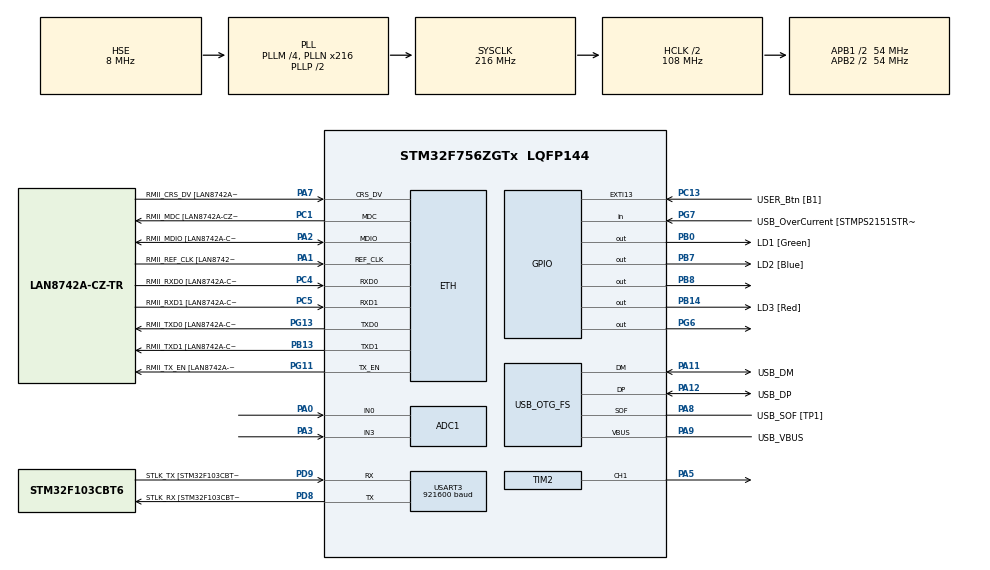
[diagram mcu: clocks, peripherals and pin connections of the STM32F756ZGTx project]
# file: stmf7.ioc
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ADC1.Channel-0\#ChannelRegularConversion=ADC_CHANNEL_0
ADC1.Channel-1\#ChannelRegularConversion=ADC_CHANNEL_3
ADC1.ClockPrescaler=ADC_CLOCK_SYNC_PCLK_DIV4
ADC1.DMAContinuousRequests=ENABLE
ADC1.EOCSelection=ADC_EOC_SINGLE_CONV
ADC1.ExternalTrigConv=ADC_EXTERNALTRIGCONV_T2_CC2
ADC1.ExternalTrigConvEdge=ADC_EXTERNALTRIGCONVEDGE_RISINGFALLING
ADC1.NbrOfConversion=2
ADC1.NbrOfConversionFlag=1
ADC1.Rank-0\#ChannelRegularConversion=1
ADC1.Rank-1\#ChannelRegularConversion=2
ADC1.SamplingTime-0\#ChannelRegularConversion=ADC_SAMPLETIME_3CYCLES
ADC1.SamplingTime-1\#ChannelRegularConversion=ADC_SAMPLETIME_3CYCLES
ADC1.ScanConvMode=ADC_SCAN_ENABLE
ADC1.master=1
Dma.ADC1.0.Direction=DMA_PERIPH_TO_MEMORY
Dma.ADC1.0.FIFOMode=DMA_FIFOMODE_DISABLE
Dma.ADC1.0.Instance=DMA2_Stream0
Dma.ADC1.0.MemDataAlignment=DMA_MDATAALIGN_HALFWORD
Dma.ADC1.0.MemInc=DMA_MINC_ENABLE
Dma.ADC1.0.Mode=DMA_CIRCULAR
Dma.ADC1.0.PeriphDataAlignment=DMA_PDATAALIGN_HALFWORD
Dma.ADC1.0.PeriphInc=DMA_PINC_DISABLE
Dma.ADC1.0.Priority=DMA_PRIORITY_LOW
Dma.Request0=ADC1
Dma.Request1=USART3_TX
Dma.Request2=USART3_RX
Dma.USART3_RX.2.Direction=DMA_PERIPH_TO_MEMORY
Dma.USART3_RX.2.FIFOMode=DMA_FIFOMODE_DISABLE
Dma.USART3_RX.2.Instance=DMA1_Stream1
Dma.USART3_RX.2.MemDataAlignment=DMA_MDATAALIGN_BYTE
Dma.USART3_RX.2.MemInc=DMA_MINC_ENABLE
Dma.USART3_RX.2.Mode=DMA_CIRCULAR
Dma.USART3_RX.2.PeriphDataAlignment=DMA_PDATAALIGN_BYTE
Dma.USART3_RX.2.PeriphInc=DMA_PINC_DISABLE
Dma.USART3_RX.2.Priority=DMA_PRIORITY_LOW
Dma.USART3_TX.1.Direction=DMA_MEMORY_TO_PERIPH
Dma.USART3_TX.1.FIFOMode=DMA_FIFOMODE_DISABLE
Dma.USART3_TX.1.Instance=DMA1_Stream3
Dma.USART3_TX.1.MemDataAlignment=DMA_MDATAALIGN_BYTE
Dma.USART3_TX.1.MemInc=DMA_MINC_ENABLE
Dma.USART3_TX.1.Mode=DMA_NORMAL
Dma.USART3_TX.1.PeriphDataAlignment=DMA_PDATAALIGN_BYTE
Dma.USART3_TX.1.PeriphInc=DMA_PINC_DISABLE
Dma.USART3_TX.1.Priority=DMA_PRIORITY_LOW
ETH.MediaInterface=HAL_ETH_RMII_MODE
ETH.PHY_Name=LAN8742A_PHY_ADDRESS
ETH.PHY_Value=0
ETH.PhyAddress=0
Mcu.Family=STM32F7
Mcu.Name=STM32F756ZGTx
Mcu.Package=LQFP144
NVIC.ADC_IRQn=true\:0\:0\:false\:false\:true\:true\:true\:true
NVIC.DMA1_Stream1_IRQn=true\:0\:0\:false\:false\:true\:false\:true\:true
NVIC.DMA1_Stream3_IRQn=true\:0\:0\:false\:false\:true\:false\:true\:true
NVIC.DMA2_Stream0_IRQn=true\:0\:0\:false\:false\:true\:false\:true\:true
NVIC.PriorityGroup=NVIC_PRIORITYGROUP_4
NVIC.TIM2_IRQn=true\:0\:0\:false\:false\:true\:true\:true\:true
NVIC.USART3_IRQn=true\:0\:0\:false\:false\:true\:true\:true\:true
PA0/WKUP.Signal=ADCx_IN0
PA1.GPIO_Label=RMII_REF_CLK [LAN8742A-CZ-TR_REFCLK0]
PA1.Mode=RMII
PA1.Signal=ETH_REF_CLK
PA10.GPIO_Label=USB_ID
PA10.Signal=USB_OTG_FS_ID
PA11.GPIO_Label=USB_DM
PA11.Mode=Device_Only
PA11.Signal=USB_OTG_FS_DM
PA12.GPIO_Label=USB_DP
PA12.Mode=Device_Only
PA12.Signal=USB_OTG_FS_DP
PA13.GPIO_Label=TMS
PA13.Mode=Serial_Wire
PA13.Signal=SYS_JTMS-SWDIO
PA14.GPIO_Label=TCK
PA14.Mode=Serial_Wire
PA14.Signal=SYS_JTCK-SWCLK
PA2.GPIO_Label=RMII_MDIO [LAN8742A-CZ-TR_MDIO]
PA2.Mode=RMII
PA2.Signal=ETH_MDIO
PA3.Signal=ADCx_IN3
PA5.Signal=S_TIM2_CH1_ETR
PA7.GPIO_Label=RMII_CRS_DV [LAN8742A-CZ-TR_CRS_DV]
PA7.Mode=RMII
PA7.Signal=ETH_CRS_DV
PA8.GPIO_Label=USB_SOF [TP1]
PA8.Mode=Activate_SOF_FS
PA8.Signal=USB_OTG_FS_SOF
PA9.GPIO_Label=USB_VBUS
PA9.Mode=Activate_VBUS
PA9.Signal=USB_OTG_FS_VBUS
PB0.GPIO_Label=LD1 [Green]
PB0.Signal=GPIO_Output
PB13.GPIO_Label=RMII_TXD1 [LAN8742A-CZ-TR_TXD1]
PB13.Mode=RMII
PB13.Signal=ETH_TXD1
PB14.GPIO_Label=LD3 [Red]
PB14.Signal=GPIO_Output
PB3.GPIO_Label=SW0
PB3.Signal=SYS_JTDO-SWO
PB7.GPIO_Label=LD2 [Blue]
PB7.Signal=GPIO_Output
PB8.Signal=GPIO_Output
PC1.GPIO_Label=RMII_MDC [LAN8742A-CZ-TR_MDC]
PC1.Mode=RMII
PC1.Signal=ETH_MDC
PC13.GPIO_Label=USER_Btn [B1]
PC13.Signal=GPXTI13
PC14/OSC32_IN.Mode=LSE-External-Oscillator
PC14/OSC32_IN.Signal=RCC_OSC32_IN
PC15/OSC32_OUT.Mode=LSE-External-Oscillator
PC15/OSC32_OUT.Signal=RCC_OSC32_OUT
PC4.GPIO_Label=RMII_RXD0 [LAN8742A-CZ-TR_RXD0]
PC4.Mode=RMII
PC4.Signal=ETH_RXD0
PC5.GPIO_Label=RMII_RXD1 [LAN8742A-CZ-TR_RXD1]
PC5.Mode=RMII
PC5.Signal=ETH_RXD1
PD8.GPIO_Label=STLK_RX [STM32F103CBT6_PA3]
PD8.Mode=Asynchronous
PD8.Signal=USART3_TX
PD9.GPIO_Label=STLK_TX [STM32F103CBT6_PA2]
PD9.Mode=Asynchronous
PD9.Signal=USART3_RX
PG11.GPIO_Label=RMII_TX_EN [LAN8742A-CZ-TR_TXEN]
PG11.Mode=RMII
PG11.Signal=ETH_TX_EN
PG13.GPIO_Label=RMII_TXD0 [LAN8742A-CZ-TR_TXD0]
PG13.Mode=RMII
PG13.Signal=ETH_TXD0
PG6.Signal=GPIO_Output
PG7.GPIO_Label=USB_OverCurrent [STMPS2151STR_FAULT]
PG7.Signal=GPIO_Input
PH0/OSC_IN.GPIO_Label=MCO [STM32F103CBT6_PA8]
PH0/OSC_IN.Mode=HSE-External-Clock-Source
PH0/OSC_IN.Signal=RCC_OSC_IN
PH1/OSC_OUT.Mode=HSE-External-Clock-Source
PH1/OSC_OUT.Signal=RCC_OSC_OUT
ProjectManager.HeapSize=0x200
ProjectManager.StackSize=0x400
ProjectManager.TargetToolchain=STM32CubeIDE
RCC.48MHZClocksFreq_Value=24000000
RCC.AHBCLKDivider=RCC_SYSCLK_DIV2
RCC.AHBFreq_Value=108000000
RCC.APB1CLKDivider=RCC_HCLK_DIV2
RCC.APB1Freq_Value=54000000
RCC.APB1TimFreq_Value=108000000
RCC.APB2CLKDivider=RCC_HCLK_DIV2
RCC.APB2Freq_Value=54000000
RCC.APB2TimFreq_Value=108000000
RCC.CortexFreq_Value=108000000
RCC.HCLKFreq_Value=108000000
RCC.HSE_VALUE=8000000
RCC.HSI_VALUE=16000000
RCC.PLLM=4
RCC.PLLMUL=RCC_PLL_MUL9
RCC.PLLN=216
RCC.PLLQ=9
RCC.PRESCALERUSB=RCC_USBCLKSOURCE_PLL_DIV1_5
RCC.SYSCLKFreq_VALUE=216000000
RCC.SYSCLKSource=RCC_SYSCLKSOURCE_PLLCLK
RCC.SYSCLKSourceVirtual=RCC_SYSCLKSOURCE_PLLCLK
RCC.USBFreq_Value=48000000
RCC.VCOOutputFreq_Value=432000000
SH.ADCx_IN0.0=ADC1_IN0,IN0
SH.ADCx_IN3.0=ADC1_IN3,IN3
SH.S_TIM2_CH1_ETR.0=TIM2_CH1,Output Compare1 CH1
TIM2.Channel-Output\ Compare1\ CH1=TIM_CHANNEL_1
TIM2.Channel-Output\ Compare2\ No\ Output=TIM_CHANNEL_2
TIM2.OCMode_1=TIM_OCMODE_TOGGLE
TIM2.OCMode_2=TIM_OCMODE_TOGGLE
TIM2.Period=2000
TIM2.TIM_MasterOutputTrigger=TIM_TRGO_UPDATE
USART3.BaudRate=921600
USART3.VirtualMode-Asynchronous=VM_ASYNC
USB_OTG_FS.VirtualMode=Device_Only
VP_TIM2_VS_ClockSourceINT.Mode=Internal
VP_TIM2_VS_no_output2.Mode=Output Compare2 No Output
board=NUCLEO-F756ZG

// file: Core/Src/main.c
/* USER CODE BEGIN Header */
/**
  ******************************************************************************
  * @file           : main.c
  * @brief          : Main program body
  ******************************************************************************
  * @attention
  *
  * Copyright (c) 2024 STMicroelectronics.
  * All rights reserved.
  *
  * This software is licensed under terms that can be found in the LICENSE file
  * in the root directory of this software component.
  * If no LICENSE file comes with this software, it is provided AS-IS.
  *
  ******************************************************************************
  */
/* USER CODE END Header */
#include "main.h"
#include "string.h"

/* USER CODE BEGIN Includes */
#include<stdio.h>
#include<math.h>
#define ARM_MATH_CM7
#include "arm_math.h"
/* USER CODE END Includes */

/* USER CODE BEGIN PD */
#define FFT_SIZE 2048
#define beamAngles 37
#define beamAngleInc 5
#define lenPhases 256
/* USER CODE END PD */

#if defined ( __ICCARM__ ) /*!< IAR Compiler */
#pragma location=0x2004c000
ETH_DMADescTypeDef  DMARxDscrTab[ETH_RX_DESC_CNT]; /* Ethernet Rx DMA Descriptors */
#pragma location=0x2004c0a0
ETH_DMADescTypeDef  DMATxDscrTab[ETH_TX_DESC_CNT]; /* Ethernet Tx DMA Descriptors */

#elif defined ( __CC_ARM )  /* MDK ARM Compiler */

__attribute__((at(0x2004c000))) ETH_DMADescTypeDef  DMARxDscrTab[ETH_RX_DESC_CNT]; /* Ethernet Rx DMA Descriptors */
__attribute__((at(0x2004c0a0))) ETH_DMADescTypeDef  DMATxDscrTab[ETH_TX_DESC_CNT]; /* Ethernet Tx DMA Descriptors */

#elif defined ( __GNUC__ ) /* GNU Compiler */
ETH_DMADescTypeDef DMARxDscrTab[ETH_RX_DESC_CNT] __attribute__((section(".RxDecripSection"))); /* Ethernet Rx DMA Descriptors */
ETH_DMADescTypeDef DMATxDscrTab[ETH_TX_DESC_CNT] __attribute__((section(".TxDecripSection")));   /* Ethernet Tx DMA Descriptors */

#endif

ETH_TxPacketConfig TxConfig;

ADC_HandleTypeDef hadc1;
DMA_HandleTypeDef hdma_adc1;

ETH_HandleTypeDef heth;

TIM_HandleTypeDef htim2;

UART_HandleTypeDef huart3;
DMA_HandleTypeDef hdma_usart3_tx;
DMA_HandleTypeDef hdma_usart3_rx;

PCD_HandleTypeDef hpcd_USB_OTG_FS;

/* USER CODE BEGIN PV */
float phases[] = {0, 1.4, 2.8, 5.6, 11.2, 22.5, 45, 90, 180, 4.199999999999999, 7.0, 12.6, 23.9, 46.4, 91.4, 181.4, 8.399999999999999, 14.0, 25.3, 47.8, 92.8, 182.8, 16.799999999999997, 28.1, 50.6, 95.6, 185.6, 33.7, 56.2, 101.2, 191.2, 67.5, 112.5, 202.5, 135, 225, 270, 9.799999999999999, 15.399999999999999, 26.7, 49.2, 94.2, 184.2, 18.2, 29.5, 52.0, 97.0, 187.0, 35.1, 57.6, 102.6, 192.6, 68.9, 113.9, 203.9, 136.4, 226.4, 271.4, 19.599999999999998, 30.9, 53.4, 98.4, 188.4, 36.5, 59.0, 104.0, 194.0, 70.3, 115.3, 205.3, 137.8, 227.8, 272.8, 39.3, 61.8, 106.8, 196.8, 73.1, 118.1, 208.1, 140.6, 230.6, 275.6, 78.7, 123.7, 213.7, 146.2, 236.2, 281.2, 157.5, 247.5, 292.5, 315, 21.0, 32.3, 54.8, 99.8, 189.8, 37.9, 60.4, 105.4, 195.4, 71.7, 116.7, 206.7, 139.2, 229.2, 274.2, 40.7, 63.2, 108.2, 198.2, 74.5, 119.5, 209.5, 142.0, 232.0, 277.0, 80.1, 125.1, 215.1, 147.6, 237.6, 282.6, 158.9, 248.9, 293.9, 316.4, 42.099999999999994, 64.6, 109.6, 199.6, 75.9, 120.9, 210.9, 143.4, 233.4, 278.4, 81.5, 126.5, 216.5, 149.0, 239.0, 284.0, 160.3, 250.3, 295.3, 317.8, 84.3, 129.3, 219.3, 151.8, 241.8, 286.8, 163.1, 253.1, 298.1, 320.6, 168.7, 258.7, 303.7, 326.2, 337.5, 43.5, 66.0, 111.0, 201.0, 77.3, 122.3, 212.3, 144.8, 234.8, 279.8, 82.9, 127.9, 217.9, 150.4, 240.4, 285.4, 161.7, 251.7, 296.7, 319.2, 85.7, 130.7, 220.7, 153.2, 243.2, 288.2, 164.5, 254.5, 299.5, 322.0, 170.1, 260.1, 305.1, 327.6, 338.9, 87.1, 132.1, 222.1, 154.6, 244.6, 289.6, 165.9, 255.9, 300.9, 323.4, 171.5, 261.5, 306.5, 329.0, 340.3, 174.3, 264.3, 309.3, 331.8, 343.1, 348.7, 88.5, 133.5, 223.5, 156.0, 246.0, 291.0, 167.3, 257.3, 302.3, 324.8, 172.9, 262.9, 307.9, 330.4, 341.7, 175.7, 265.7, 310.7, 333.2, 344.5, 350.1, 177.1, 267.1, 312.1, 334.6, 345.9, 351.5, 354.3, 178.5, 268.5, 313.5, 336.0, 347.3, 352.9, 355.7, 357.1, 358.5};
uint8_t binCode[] = {0, 1, 2, 4, 8, 16, 32, 64, 128, 3, 5, 9, 17, 33, 65, 129, 6, 10, 18, 34, 66, 130, 12, 20, 36, 68, 132, 24, 40, 72, 136, 48, 80, 144, 96, 160, 192, 7, 11, 19, 35, 67, 131, 13, 21, 37, 69, 133, 25, 41, 73, 137, 49, 81, 145, 97, 161, 193, 14, 22, 38, 70, 134, 26, 42, 74, 138, 50, 82, 146, 98, 162, 194, 28, 44, 76, 140, 52, 84, 148, 100, 164, 196, 56, 88, 152, 104, 168, 200, 112, 176, 208, 224, 15, 23, 39, 71, 135, 27, 43, 75, 139, 51, 83, 147, 99, 163, 195, 29, 45, 77, 141, 53, 85, 149, 101, 165, 197, 57, 89, 153, 105, 169, 201, 113, 177, 209, 225, 30, 46, 78, 142, 54, 86, 150, 102, 166, 198, 58, 90, 154, 106, 170, 202, 114, 178, 210, 226, 60, 92, 156, 108, 172, 204, 116, 180, 212, 228, 120, 184, 216, 232, 240, 31, 47, 79, 143, 55, 87, 151, 103, 167, 199, 59, 91, 155, 107, 171, 203, 115, 179, 211, 227, 61, 93, 157, 109, 173, 205, 117, 181, 213, 229, 121, 185, 217, 233, 241, 62, 94, 158, 110, 174, 206, 118, 182, 214, 230, 122, 186, 218, 234, 242, 124, 188, 220, 236, 244, 248, 63, 95, 159, 111, 175, 207, 119, 183, 215, 231, 123, 187, 219, 235, 243, 125, 189, 221, 237, 245, 249, 126, 190, 222, 238, 246, 250, 252, 127, 191, 223, 239, 247, 251, 253, 254, 255};
float sepPhases[] = {0, 180, 91.4, 271.4, 5.6, 182.8, 1.4, 175.7, 11.2, 180, 11.2, 174.3, 0, 156.0, 182.8, 330.4, 201.0, 338.9, 180, 307.9, 19.599999999999998, 135, 35.1, 137.8, 56.2, 146.2, 199.6, 275.6, 91.4, 153.2, 21.0, 67.5, 244.6, 275.6, 244.6, 260.1, 0, 0, 260.1, 244.6, 275.6, 244.6, 90, 43.5, 198.2, 136.4, 275.6, 199.6, 191.2, 101.2, 182.8, 80.1, 180, 64.6, 285.4, 157.5, 271.4, 133.5, 285.4, 137.8, 201.0, 45, 196.8, 33.7, 180, 11.2, 198.2, 23.9, 181.4, 4.199999999999999, 271.4, 91.4, 180, 0};
float hamming[2048];
uint16_t raw[2];
uint8_t rawRX[1];
uint16_t values[FFT_SIZE/2];
char msg[5000];
uint8_t transmitting = 0;
float fftin[FFT_SIZE];
float fftout[FFT_SIZE];
float fftin1[FFT_SIZE];
float fftout1[FFT_SIZE];
uint16_t increment = 0;
arm_rfft_fast_instance_f32 fftHandler;
uint32_t missedTransmit = 0;
uint32_t timeUART = 0;
uint32_t timeFFT = 0;
uint16_t len = 0;
float antenna1Phase = 0;
float antenna2Phase = 0;
int curAngle = 0;
uint8_t indexPoo = 18;
uint8_t indexPhase1 = 0;
uint8_t indexPhase2 = 0;
uint8_t newBeam = 1;
uint8_t binary1 = 0;
uint8_t binary2 = 0;
/* USER CODE END PV */

void SystemClock_Config(void);
static void MX_GPIO_Init(void);
static void MX_DMA_Init(void);
static void MX_USART3_UART_Init(void);
static void MX_USB_OTG_FS_PCD_Init(void);
static void MX_TIM2_Init(void);
static void MX_ADC1_Init(void);
static void MX_ETH_Init(void);

int main(void)
{

  /* MCU Configuration--------------------------------------------------------*/

  /* Reset of all peripherals, Initializes the Flash interface and the Systick. */
  HAL_Init();

  /* Configure the system clock */
  SystemClock_Config();

  /* Initialize all configured peripherals */
  MX_GPIO_Init();
  MX_DMA_Init();
  MX_USART3_UART_Init();
  MX_USB_OTG_FS_PCD_Init();
  MX_TIM2_Init();
  MX_ADC1_Init();
  MX_ETH_Init();
  /* USER CODE BEGIN 2 */
  HAL_ADC_Start_DMA(&hadc1, (uint32_t *)raw, 2);
  arm_rfft_fast_init_f32(&fftHandler, FFT_SIZE);
  HAL_TIM_Base_Start_IT(&htim2);
  HAL_TIM_OC_Start_IT(&htim2, TIM_CHANNEL_1);
  HAL_TIM_OC_Start_IT(&htim2, TIM_CHANNEL_2);
  /* USER CODE END 2 */

  /* Infinite loop */
  /* USER CODE BEGIN WHILE */
  float peakVal = 0.0;
    uint32_t peakFreq = 0.0;
    float peakVal1 = 0.0;
    uint32_t peakFreq1 = 0.0;
    float phase = 0.0;
    float phase1 = 0.0;
    float phasedif = 0.0;
    HAL_UART_Receive_DMA(&huart3, rawRX, 1);
    for(uint16_t i = 0; i < FFT_SIZE; i++){
  	  hamming[i] = (.5-(.5*cos((2.0*M_PI*i)/(FFT_SIZE - 1))));
    }
  while (1)
  {
	  if(newBeam){
	  		  antenna1Phase = sepPhases[indexPoo*2];
	  		  antenna2Phase = sepPhases[indexPoo*2 + 1];
	  		  for(int i = 0; i < lenPhases; i++){
	  			  if(phases[i] == antenna1Phase){
	  				  indexPhase1 = i;
	  			  }
	  			  if(phases[i] == antenna2Phase){
	  				  indexPhase2 = i;
	  			  }
	  		  }
	  		  binary1 = binCode[indexPhase1];
	  		  binary2 = binCode[indexPhase2];
	  		  newBeam = 0;
	  	  }
	  	  if(increment == 2048){
	  		  timeFFT = HAL_GetTick();
	  		  arm_rfft_fast_f32(&fftHandler, &fftin, &fftout, 0);
	  		  arm_rfft_fast_f32(&fftHandler, &fftin1, &fftout1, 0);
	  		  increment = 0;
	  		  uint16_t freqincrement = 0;
	  		  for(uint16_t increment = 0; increment < FFT_SIZE; increment+=2){
	  			  float curVal = sqrtf((fftout[increment] * fftout[increment]) + (fftout[increment+1]*fftout[increment+1]));
	  			  if(freqincrement < 1024){
	  				  values[freqincrement] = (uint16_t)curVal;
	  			  }
	  			  float curVal1 = sqrtf((fftout1[increment] * fftout1[increment]) + (fftout1[increment+1]*fftout1[increment+1]));
	  			  if(curVal > peakVal){
	  				  peakVal = curVal;
	  				  peakFreq = (uint32_t) (freqincrement * 56179)/((float) FFT_SIZE);
	  				  phase = atan2(fftout[increment+1], fftout[increment]);
	  			  }
	  			  if(curVal1 > peakVal1){
	  				  peakVal1 = curVal1;
	  				  peakFreq1 = (uint32_t) (freqincrement * 46729)/((float) FFT_SIZE);
	  				  phase1 = atan2(fftout1[increment+1], fftout1[increment]);
	  			  }
	  			  freqincrement++;
	  		  }
	  		  phasedif = phase1 - phase;
	  		  timeFFT = HAL_GetTick() - timeFFT;
	  		  if(!transmitting){
	  			  for(int i=0;i<1024;i++) {
	  				  	  	if(i < 1023){
	  				  	  		len+=snprintf(&msg[len],sizeof(msg)-len,"%d,",values[i]);
	  				  	  	}
	  				  	  	else{
	  			  		  		len+=snprintf(&msg[len],sizeof(msg)-len,"%d:",values[i]);
	  			  		  		len+=snprintf(&msg[len],sizeof(msg)-len,"%7.4f,%7.4f\r\n", antenna1Phase, antenna2Phase);
	  			  		  		//len+=snprintf(&msg[len],sizeof(msg)-len,"%d %d\r\n", timeUART, missedTransmit);
	  			  		  	}
	  			  		  }

	  			  //sprintf(msg, "FFT Time: %d UART Time: %d Missed: %d F1: %d F2: %d\r\n", timeFFT, timeUART, missedTransmit, peakFreq, peakFreq1);
	  			  //HAL_UART_Transmit_DMA(&huart3, (uint8_t*)msg, strlen(msg));
	  			  HAL_UART_Transmit_DMA(&huart3,(uint8_t*)msg,len);
	  			  transmitting = 1;
	  			  timeUART = HAL_GetTick();
	  		  } else {
	  			  missedTransmit++;
	  		  }
	  		  peakVal = 0.0;
	  		  peakFreq = 0.0;
	  		  peakVal1 = 0.0;
	  		  peakFreq1 = 0.0;
	  		  //memset(msg, 0, sizeof(msg));
    /* USER CODE END WHILE */

  }
  }
}

void SystemClock_Config(void)
{
  RCC_OscInitTypeDef RCC_OscInitStruct = {0};
  RCC_ClkInitTypeDef RCC_ClkInitStruct = {0};

  /** Configure LSE Drive Capability
  */
  HAL_PWR_EnableBkUpAccess();

  /** Configure the main internal regulator output voltage
  */
  __HAL_RCC_PWR_CLK_ENABLE();
  __HAL_PWR_VOLTAGESCALING_CONFIG(PWR_REGULATOR_VOLTAGE_SCALE3);

  /** Initializes the RCC Oscillators according to the specified parameters
  * in the RCC_OscInitTypeDef structure.
  */
  RCC_OscInitStruct.OscillatorType = RCC_OSCILLATORTYPE_HSE;
  RCC_OscInitStruct.HSEState = RCC_HSE_BYPASS;
  RCC_OscInitStruct.PLL.PLLState = RCC_PLL_ON;
  RCC_OscInitStruct.PLL.PLLSource = RCC_PLLSOURCE_HSE;
  RCC_OscInitStruct.PLL.PLLM = 4;
  RCC_OscInitStruct.PLL.PLLN = 216;
  RCC_OscInitStruct.PLL.PLLP = RCC_PLLP_DIV2;
  RCC_OscInitStruct.PLL.PLLQ = 9;
  if (HAL_RCC_OscConfig(&RCC_OscInitStruct) != HAL_OK)
  {
    Error_Handler();
  }

  /** Activate the Over-Drive mode
  */
  if (HAL_PWREx_EnableOverDrive() != HAL_OK)
  {
    Error_Handler();
  }

  /** Initializes the CPU, AHB and APB buses clocks
  */
  RCC_ClkInitStruct.ClockType = RCC_CLOCKTYPE_HCLK|RCC_CLOCKTYPE_SYSCLK
                              |RCC_CLOCKTYPE_PCLK1|RCC_CLOCKTYPE_PCLK2;
  RCC_ClkInitStruct.SYSCLKSource = RCC_SYSCLKSOURCE_PLLCLK;
  RCC_ClkInitStruct.AHBCLKDivider = RCC_SYSCLK_DIV2;
  RCC_ClkInitStruct.APB1CLKDivider = RCC_HCLK_DIV2;
  RCC_ClkInitStruct.APB2CLKDivider = RCC_HCLK_DIV2;

  if (HAL_RCC_ClockConfig(&RCC_ClkInitStruct, FLASH_LATENCY_3) != HAL_OK)
  {
    Error_Handler();
  }
}

static void MX_ADC1_Init(void)
{

  ADC_ChannelConfTypeDef sConfig = {0};

  /** Configure the global features of the ADC (Clock, Resolution, Data Alignment and number of conversion)
  */
  hadc1.Instance = ADC1;
  hadc1.Init.ClockPrescaler = ADC_CLOCK_SYNC_PCLK_DIV4;
  hadc1.Init.Resolution = ADC_RESOLUTION_12B;
  hadc1.Init.ScanConvMode = ADC_SCAN_ENABLE;
  hadc1.Init.ContinuousConvMode = DISABLE;
  hadc1.Init.DiscontinuousConvMode = DISABLE;
  hadc1.Init.ExternalTrigConvEdge = ADC_EXTERNALTRIGCONVEDGE_RISINGFALLING;
  hadc1.Init.ExternalTrigConv = ADC_EXTERNALTRIGCONV_T2_CC2;
  hadc1.Init.DataAlign = ADC_DATAALIGN_RIGHT;
  hadc1.Init.NbrOfConversion = 2;
  hadc1.Init.DMAContinuousRequests = ENABLE;
  hadc1.Init.EOCSelection = ADC_EOC_SINGLE_CONV;
  if (HAL_ADC_Init(&hadc1) != HAL_OK)
  {
    Error_Handler();
  }

  /** Configure for the selected ADC regular channel its corresponding rank in the sequencer and its sample time.
  */
  sConfig.Channel = ADC_CHANNEL_0;
  sConfig.Rank = ADC_REGULAR_RANK_1;
  sConfig.SamplingTime = ADC_SAMPLETIME_3CYCLES;
  if (HAL_ADC_ConfigChannel(&hadc1, &sConfig) != HAL_OK)
  {
    Error_Handler();
  }

  /** Configure for the selected ADC regular channel its corresponding rank in the sequencer and its sample time.
  */
  sConfig.Channel = ADC_CHANNEL_3;
  sConfig.Rank = ADC_REGULAR_RANK_2;
  if (HAL_ADC_ConfigChannel(&hadc1, &sConfig) != HAL_OK)
  {
    Error_Handler();
  }

}

static void MX_ETH_Init(void)
{

   static uint8_t MACAddr[6];

  heth.Instance = ETH;
  MACAddr[0] = 0x00;
  MACAddr[1] = 0x80;
  MACAddr[2] = 0xE1;
  MACAddr[3] = 0x00;
  MACAddr[4] = 0x00;
  MACAddr[5] = 0x00;
  heth.Init.MACAddr = &MACAddr[0];
  heth.Init.MediaInterface = HAL_ETH_RMII_MODE;
  heth.Init.TxDesc = DMATxDscrTab;
  heth.Init.RxDesc = DMARxDscrTab;
  heth.Init.RxBuffLen = 1524;

  if (HAL_ETH_Init(&heth) != HAL_OK)
  {
    Error_Handler();
  }

  memset(&TxConfig, 0 , sizeof(ETH_TxPacketConfig));
  TxConfig.Attributes = ETH_TX_PACKETS_FEATURES_CSUM | ETH_TX_PACKETS_FEATURES_CRCPAD;
  TxConfig.ChecksumCtrl = ETH_CHECKSUM_IPHDR_PAYLOAD_INSERT_PHDR_CALC;
  TxConfig.CRCPadCtrl = ETH_CRC_PAD_INSERT;

}

static void MX_TIM2_Init(void)
{

  TIM_ClockConfigTypeDef sClockSourceConfig = {0};
  TIM_MasterConfigTypeDef sMasterConfig = {0};
  TIM_OC_InitTypeDef sConfigOC = {0};

  htim2.Instance = TIM2;
  htim2.Init.Prescaler = 0;
  htim2.Init.CounterMode = TIM_COUNTERMODE_UP;
  htim2.Init.Period = 2000;
  htim2.Init.ClockDivision = TIM_CLOCKDIVISION_DIV1;
  htim2.Init.AutoReloadPreload = TIM_AUTORELOAD_PRELOAD_DISABLE;
  if (HAL_TIM_Base_Init(&htim2) != HAL_OK)
  {
    Error_Handler();
  }
  sClockSourceConfig.ClockSource = TIM_CLOCKSOURCE_INTERNAL;
  if (HAL_TIM_ConfigClockSource(&htim2, &sClockSourceConfig) != HAL_OK)
  {
    Error_Handler();
  }
  if (HAL_TIM_OC_Init(&htim2) != HAL_OK)
  {
    Error_Handler();
  }
  sMasterConfig.MasterOutputTrigger = TIM_TRGO_UPDATE;
  sMasterConfig.MasterSlaveMode = TIM_MASTERSLAVEMODE_DISABLE;
  if (HAL_TIMEx_MasterConfigSynchronization(&htim2, &sMasterConfig) != HAL_OK)
  {
    Error_Handler();
  }
  sConfigOC.OCMode = TIM_OCMODE_TOGGLE;
  sConfigOC.Pulse = 0;
  sConfigOC.OCPolarity = TIM_OCPOLARITY_HIGH;
  sConfigOC.OCFastMode = TIM_OCFAST_DISABLE;
  if (HAL_TIM_OC_ConfigChannel(&htim2, &sConfigOC, TIM_CHANNEL_1) != HAL_OK)
  {
    Error_Handler();
  }
  if (HAL_TIM_OC_ConfigChannel(&htim2, &sConfigOC, TIM_CHANNEL_2) != HAL_OK)
  {
    Error_Handler();
  }
  HAL_TIM_MspPostInit(&htim2);

}

static void MX_USART3_UART_Init(void)
{

  huart3.Instance = USART3;
  huart3.Init.BaudRate = 921600;
  huart3.Init.WordLength = UART_WORDLENGTH_8B;
  huart3.Init.StopBits = UART_STOPBITS_1;
  huart3.Init.Parity = UART_PARITY_NONE;
  huart3.Init.Mode = UART_MODE_TX_RX;
  huart3.Init.HwFlowCtl = UART_HWCONTROL_NONE;
  huart3.Init.OverSampling = UART_OVERSAMPLING_16;
  huart3.Init.OneBitSampling = UART_ONE_BIT_SAMPLE_DISABLE;
  huart3.AdvancedInit.AdvFeatureInit = UART_ADVFEATURE_NO_INIT;
  if (HAL_UART_Init(&huart3) != HAL_OK)
  {
    Error_Handler();
  }

}

static void MX_USB_OTG_FS_PCD_Init(void)
{

  hpcd_USB_OTG_FS.Instance = USB_OTG_FS;
  hpcd_USB_OTG_FS.Init.dev_endpoints = 6;
  hpcd_USB_OTG_FS.Init.speed = PCD_SPEED_FULL;
  hpcd_USB_OTG_FS.Init.dma_enable = DISABLE;
  hpcd_USB_OTG_FS.Init.phy_itface = PCD_PHY_EMBEDDED;
  hpcd_USB_OTG_FS.Init.Sof_enable = ENABLE;
  hpcd_USB_OTG_FS.Init.low_power_enable = DISABLE;
  hpcd_USB_OTG_FS.Init.lpm_enable = DISABLE;
  hpcd_USB_OTG_FS.Init.vbus_sensing_enable = ENABLE;
  hpcd_USB_OTG_FS.Init.use_dedicated_ep1 = DISABLE;
  if (HAL_PCD_Init(&hpcd_USB_OTG_FS) != HAL_OK)
  {
    Error_Handler();
  }

}

static void MX_DMA_Init(void)
{

  /* DMA controller clock enable */
  __HAL_RCC_DMA2_CLK_ENABLE();
  __HAL_RCC_DMA1_CLK_ENABLE();

  /* DMA interrupt init */
  /* DMA1_Stream1_IRQn interrupt configuration */
  HAL_NVIC_SetPriority(DMA1_Stream1_IRQn, 0, 0);
  HAL_NVIC_EnableIRQ(DMA1_Stream1_IRQn);
  /* DMA1_Stream3_IRQn interrupt configuration */
  HAL_NVIC_SetPriority(DMA1_Stream3_IRQn, 0, 0);
  HAL_NVIC_EnableIRQ(DMA1_Stream3_IRQn);
  /* DMA2_Stream0_IRQn interrupt configuration */
  HAL_NVIC_SetPriority(DMA2_Stream0_IRQn, 0, 0);
  HAL_NVIC_EnableIRQ(DMA2_Stream0_IRQn);

}

static void MX_GPIO_Init(void)
{
  GPIO_InitTypeDef GPIO_InitStruct = {0};

  /* GPIO Ports Clock Enable */
  __HAL_RCC_GPIOC_CLK_ENABLE();
  __HAL_RCC_GPIOH_CLK_ENABLE();
  __HAL_RCC_GPIOA_CLK_ENABLE();
  __HAL_RCC_GPIOB_CLK_ENABLE();
  __HAL_RCC_GPIOD_CLK_ENABLE();
  __HAL_RCC_GPIOG_CLK_ENABLE();

  /*Configure GPIO pin Output Level */
  HAL_GPIO_WritePin(GPIOB, LD1_Pin|LD3_Pin|LD2_Pin|GPIO_PIN_8, GPIO_PIN_RESET);

  /*Configure GPIO pin Output Level */
  HAL_GPIO_WritePin(GPIOG, GPIO_PIN_6, GPIO_PIN_RESET);

  /*Configure GPIO pin : USER_Btn_Pin */
  GPIO_InitStruct.Pin = USER_Btn_Pin;
  GPIO_InitStruct.Mode = GPIO_MODE_IT_RISING;
  GPIO_InitStruct.Pull = GPIO_NOPULL;
  HAL_GPIO_Init(USER_Btn_GPIO_Port, &GPIO_InitStruct);

  /*Configure GPIO pins : LD1_Pin LD3_Pin LD2_Pin PB8 */
  GPIO_InitStruct.Pin = LD1_Pin|LD3_Pin|LD2_Pin|GPIO_PIN_8;
  GPIO_InitStruct.Mode = GPIO_MODE_OUTPUT_PP;
  GPIO_InitStruct.Pull = GPIO_NOPULL;
  GPIO_InitStruct.Speed = GPIO_SPEED_FREQ_LOW;
  HAL_GPIO_Init(GPIOB, &GPIO_InitStruct);

  /*Configure GPIO pin : PG6 */
  GPIO_InitStruct.Pin = GPIO_PIN_6;
  GPIO_InitStruct.Mode = GPIO_MODE_OUTPUT_PP;
  GPIO_InitStruct.Pull = GPIO_NOPULL;
  GPIO_InitStruct.Speed = GPIO_SPEED_FREQ_LOW;
  HAL_GPIO_Init(GPIOG, &GPIO_InitStruct);

  /*Configure GPIO pin : USB_OverCurrent_Pin */
  GPIO_InitStruct.Pin = USB_OverCurrent_Pin;
  GPIO_InitStruct.Mode = GPIO_MODE_INPUT;
  GPIO_InitStruct.Pull = GPIO_NOPULL;
  HAL_GPIO_Init(USB_OverCurrent_GPIO_Port, &GPIO_InitStruct);

}

/* USER CODE BEGIN 4 */
void HAL_ADC_ConvCpltCallback(ADC_HandleTypeDef* hadc){
	HAL_GPIO_TogglePin(GPIOB, GPIO_PIN_8);
	if(increment < 2048){
		float in1 = raw[0];
		in1 = (in1-2048)/2048;
		in1 = in1 * hamming[increment];
		float in2 = raw[1];
		in2 = (in2-2048)/2048;
		in2 = in2 * hamming[increment];
		fftin[increment] = in1;
		fftin1[increment] = in2;
		increment++;
	}
}
	void HAL_UART_TxCpltCallback(UART_HandleTypeDef *huart){
		transmitting = 0;
		timeUART = HAL_GetTick() - timeUART;
		len = 0;
		memset(msg, 0, sizeof(msg));
	}
	void HAL_UART_RxCpltCallback(UART_HandleTypeDef *huart){
		if(rawRX[0] == 97){
			if(indexPoo > 0 && indexPoo < beamAngles){
				indexPoo--;
				curAngle = -90 + (indexPoo * beamAngleInc);
				newBeam = 1;
			}
		} else if(rawRX[0] == 100){
			if(indexPoo >= 0 && indexPoo < beamAngles - 1){
				indexPoo++;
				curAngle = -90 + (indexPoo * beamAngleInc);
				newBeam = 1;
			}
		}
	}

	void HAL_UART_ErrorCallback(UART_HandleTypeDef *huart) {
	  char msgError[30];
	  if (huart->ErrorCode & HAL_UART_ERROR_PE) {
		  sprintf(msgError, "Parity Error\r\n");
		  HAL_UART_Transmit(&huart3, (uint8_t*)msg, sizeof(msg), HAL_MAX_DELAY);
	  }
	  if (huart->ErrorCode & HAL_UART_ERROR_FE) {
		  sprintf(msgError, "Frame Error\r\n");
		  HAL_UART_Transmit(&huart3, (uint8_t*)msg, sizeof(msg), HAL_MAX_DELAY);
	  }
	  if (huart->ErrorCode & HAL_UART_ERROR_NE) {
	  	  sprintf(msgError, "Noise Error\r\n");
	  	  HAL_UART_Transmit(&huart3, (uint8_t*)msg, sizeof(msg), HAL_MAX_DELAY);
	  }
	  if (huart->ErrorCode & HAL_UART_ERROR_ORE) {
	    	  sprintf(msgError, "Overrun Error\r\n");
	    	  HAL_UART_Transmit(&huart3, (uint8_t*)msg, sizeof(msg), HAL_MAX_DELAY);
	  }
	  if (huart->ErrorCode & HAL_UART_ERROR_DMA) {
	    	  sprintf(msgError, "DMA Error\r\n");
	    	  HAL_UART_Transmit(&huart3, (uint8_t*)msg, sizeof(msg), HAL_MAX_DELAY);
	  }
	  // etc...
	}
/* USER CODE END 4 */

void Error_Handler(void)
{
  __disable_irq();
  while (1)
  {
  }
}
